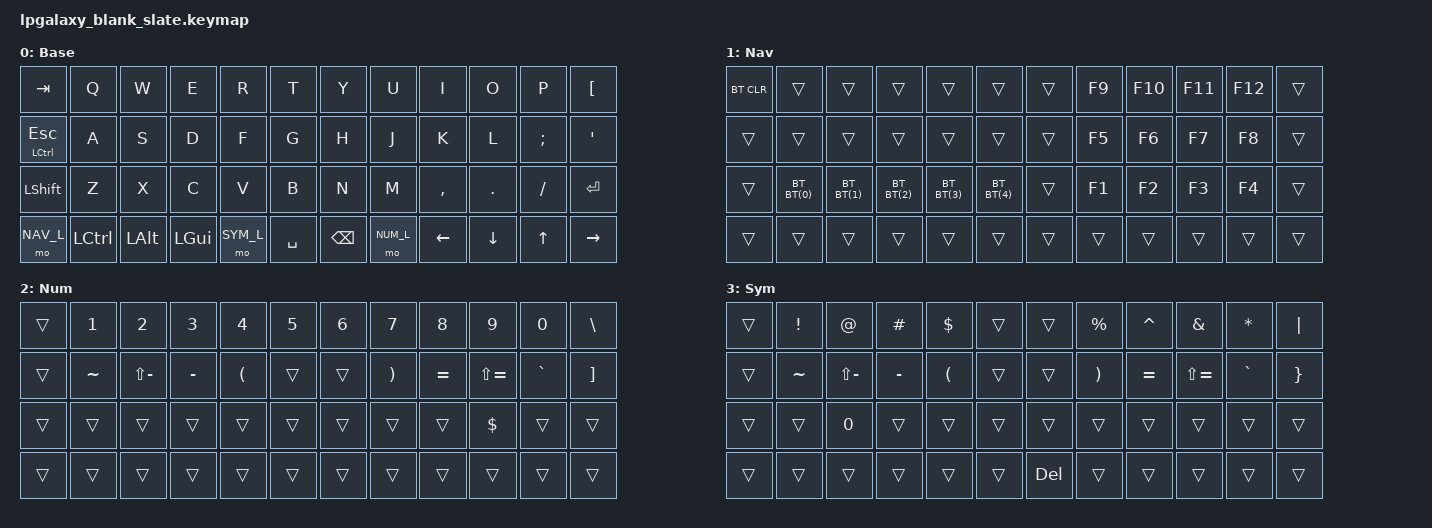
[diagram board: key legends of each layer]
/*
 * Copyright (c) 2022 Pete Johanson
 *
 * SPDX-License-Identifier: MIT
 */

#include <behaviors.dtsi>
#include <dt-bindings/zmk/keys.h>
#include <dt-bindings/zmk/bt.h>
#include <dt-bindings/zmk/outputs.h>

#define DVORAK_BASE 1

#define TBLE_ORTHO   1
// #define TBLE_MIT     0

#define NAV_L 1
#define NUM_L 2
#define SYM_L 3

// Using layer taps on thumbs, having quick tap as well helps w/ repeating space/backspace
&lt { quick_tap_ms = <200>; };

#define BT(n) BT_SEL n

/ {
    chosen {
       zmk,physical-layout =
#ifdef TBLE_DUAL_2U
                       &layout_ortho_4x12_2x2u;
#elif defined(TBLE_MIT)
                       &layout_ortho_4x12_1x2u;
#else
                       &layout_ortho_4x12_all1u;
#endif
    };

    macros {
      ZMK_MACRO(thumbs_up,
		wait-ms = <1>;
		tap-ms = <5>;
                bindings = <&kp PLUS &kp COLON &kp PLUS &kp N1 &kp COLON &kp RET>;
		)
    };
    
    tap_dances {
    	shifty: shift_caps_word {
		compatible = "zmk,behavior-tap-dance";
		label = "TD_SHIFTY";
		#binding-cells = <0>;
		tapping-term-ms = <150>;
		bindings = <&kp LSHFT>, <&caps_word>;
	};
    };

// Conditional layer only when we have less thumb keys
//#ifdef TBLE_DUAL_2U
//    cond_layers {
//        compatible = "zmk,conditional-layers";
//	tri {
//	    if-layers = <NUM_L NAV_L>;
//	    then-layer = <SYM_L>;
//        };
//    };
//#endif

    keymap {
        compatible = "zmk,keymap";

        base_layer {
            label = "Base";
            bindings = <
&kp TAB    &kp Q      &kp W      &kp E       &kp R          &kp T          &kp Y            &kp U          &kp I       &kp O      &kp P         &kp LBKT
&mt LCTRL ESC    &kp A      &kp S      &kp D       &kp F          &kp G          &kp H            &kp J          &kp K       &kp L      &kp SEMI      &kp QUOT
&kp LSHFT  &kp Z      &kp X      &kp C       &kp V          &kp B          &kp N            &kp M          &kp COMMA   &kp DOT    &kp FSLH      &kp RET
&mo NAV_L  &kp LCTRL  &kp LALT   &kp LGUI    &mo SYM_L      &kp SPACE      &kp BKSP         &mo NUM_L      &kp LEFT    &kp DOWN     &kp UP      &kp RIGHT
            >;
        };

        nav_layer {
            label = "Nav";
            bindings = <
&bt BT_CLR &trans     &trans     &trans      &trans          &trans       &trans     &kp F9         &kp F10 &kp F11     &kp F12     &trans
&trans     &trans     &trans     &trans      &trans          &trans       &trans     &kp F5       &kp F6    &kp F7     &kp F8  &trans
&trans     &bt BT(0)  &bt BT(1)  &bt BT(2)   &bt BT(3)       &bt BT(4)    &trans     &kp F1       &kp F2   &kp F3  &kp F4    &trans
&trans  &trans        &trans     &trans      &trans          &trans       &trans    &trans  &trans         &trans &trans &trans
            >;
        };

        num_layer {
            label = "Num";
            bindings = <
&trans     &kp N1   &kp N2   &kp N3 &kp N4    &kp N5    &kp N6    &kp N7     &kp N8      &kp N9       &kp N0     &kp BSLH
&trans  &kp TILDE  &kp LS(MINUS)  &kp MINUS  &kp LPAR  &trans  &trans  &kp RPAR  &kp EQUAL  &kp LS(EQUAL)  &kp GRAVE  &kp RBKT
&trans     &trans  &trans &trans &trans    &trans    &trans        &trans     &trans      &kp DLLR       &trans     &trans
&trans  &trans       &trans     &trans      &trans    &trans         &trans     &trans        &trans      &trans &trans &trans
            >;
        };

        sym_layer {
            label = "Sym";
            bindings = <
&trans     &kp EXCL   &kp AT   &kp HASH    &kp DLLR     &trans     &trans     &kp PRCNT    &kp CARET       &kp AMPS       &kp STAR     &kp PIPE
&trans  &kp TILDE  &kp LS(MINUS)  &kp MINUS  &kp LPAR  &trans  &trans  &kp RPAR  &kp EQUAL  &kp LS(EQUAL)  &kp GRAVE  &kp RBRC
&trans     &trans  &kp N0   &trans      &trans     &trans     &trans     &trans    &trans       &trans       &trans     &trans
&trans     &trans     &trans     &trans        &trans     &trans       &kp DEL    &trans  &trans         &trans  &trans  &trans
            >;
        };



    };
};

